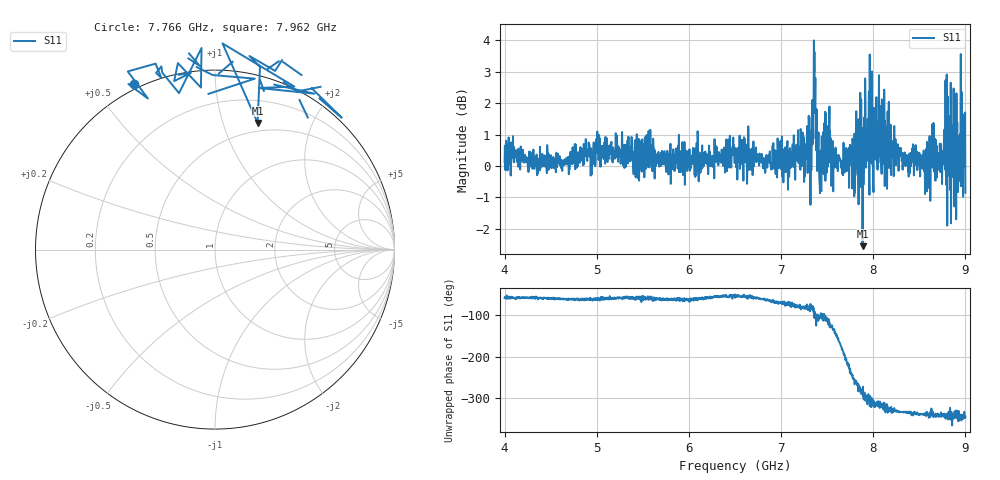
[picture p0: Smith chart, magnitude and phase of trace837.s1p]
! Created with skrf 1.8.0 (http://scikit-rf.org).
# Hz S RI R 50.0
!freq ReS11 ImS11
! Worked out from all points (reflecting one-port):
!   1601 points, 4 GHz to 9 GHz, reference 50 ohm
!   lowest |S11| = -2.6 dB at 7.884 GHz (marker M1), VSWR 6.84, Z = 20.6 + j65.4 ohm
!   phase of S11 starts at -59 deg and turns -285 deg over the sweep
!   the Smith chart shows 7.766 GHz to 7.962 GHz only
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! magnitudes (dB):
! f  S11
! 4 GHz  0.1
! 4.625 GHz  -0.2
! 5.016 GHz  0.8
! 5.25 GHz  0.3
! 5.875 GHz  0.3
! 6.5 GHz  0.3
! 7.125 GHz  0.7
! 7.306 GHz  1.6
! 7.362 GHz  3.6
! 7.416 GHz  -0.5
! 7.509 GHz  0.2
! 7.591 GHz  0.6
! 7.75 GHz  0.3
! 7.884 GHz  -2.6
! 7.909 GHz  0.9
! 7.928 GHz  1.2
! 8.022 GHz  0.2
! 8.097 GHz  0.8
! 8.375 GHz  0.2
! 8.441 GHz  -0.3
! 8.581 GHz  -0.8
! 8.656 GHz  1.3
! 8.738 GHz  0.4
! 8.809 GHz  2.2
! 8.825 GHz  0.6
! 8.919 GHz  -0.8
! 8.972 GHz  0.7
! 9 GHz  -0.9
